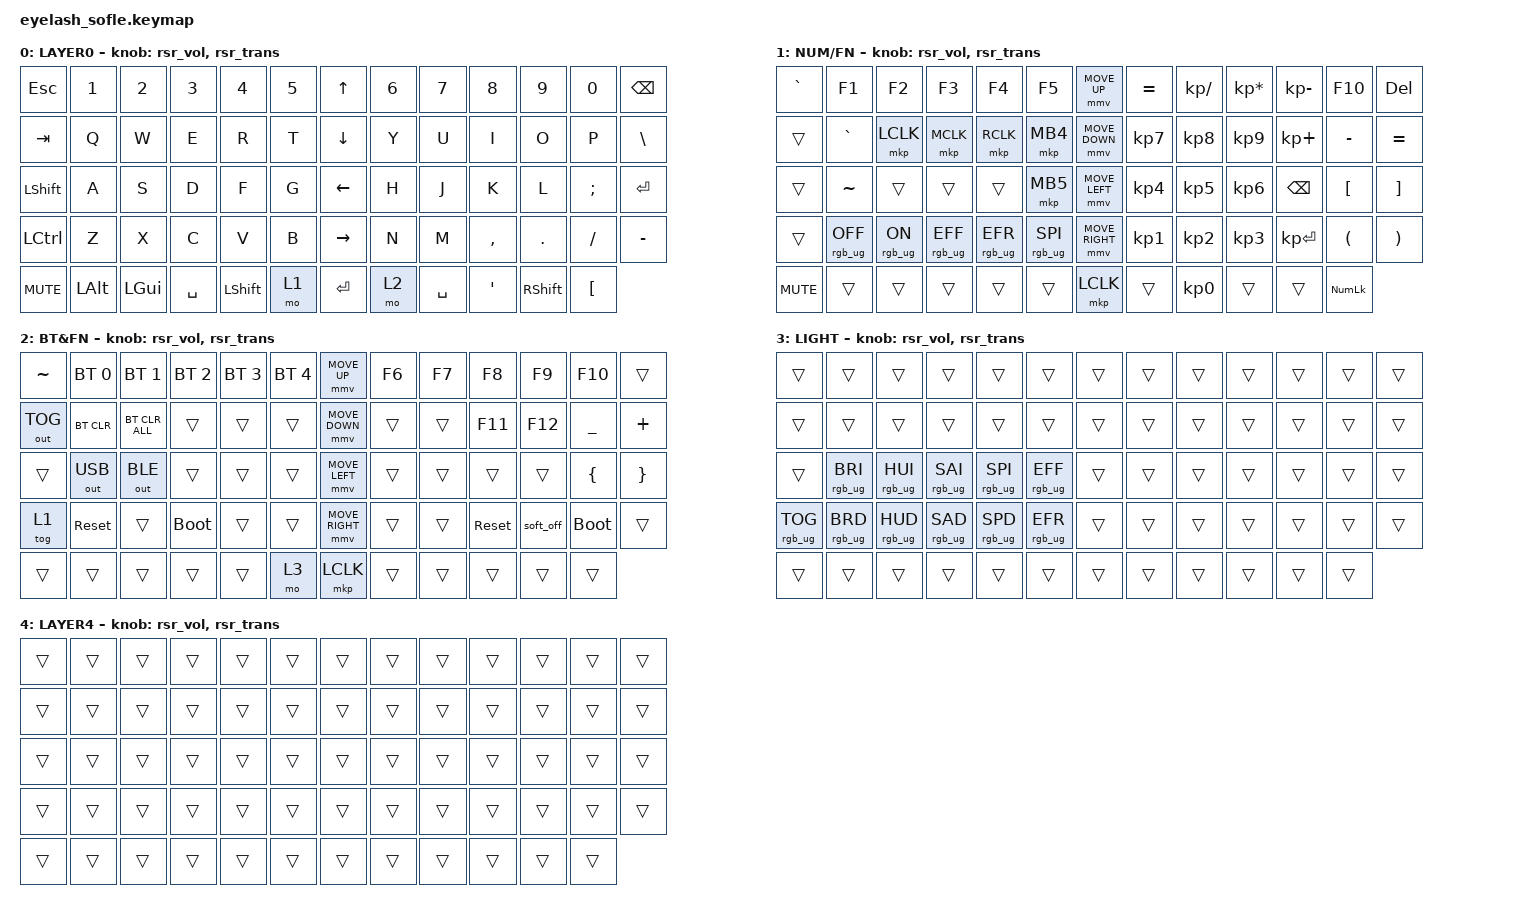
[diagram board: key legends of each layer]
#define ZMK_POINTING_DEFAULT_MOVE_VAL 1200  // 600
#define ZMK_POINTING_DEFAULT_SCRL_VAL 25   // 10

#include <input/processors.dtsi>
#include <zephyr/dt-bindings/input/input-event-codes.h>
#include <behaviors/runtime-sensor-rotate.dtsi>
#include <behaviors.dtsi>
#include <dt-bindings/zmk/bt.h>
#include <dt-bindings/zmk/keys.h>
#include <dt-bindings/zmk/outputs.h>
#include <dt-bindings/zmk/pointing.h>
#include <dt-bindings/zmk/rgb.h>

&mmv_input_listener { input-processors = <&zip_xy_scaler 2 1>; };

&msc_input_listener { input-processors = <&zip_scroll_scaler 2 1>; };

&msc {
    acceleration-exponent = <1>;      // 0
    time-to-max-speed-ms = <100>;       // 300
    delay-ms = <0>;                   // 0
};

&mmv {
    time-to-max-speed-ms = <500>;
    acceleration-exponent = <1>;
    trigger-period-ms = <16>;
};

&soft_off { hold-time-ms = <2000>; };

/ {
    scroll_encoder: scroll_encoder {
        compatible = "zmk,behavior-sensor-rotate";
        #sensor-binding-cells = <0>;
        bindings = <&msc SCRL_DOWN>, <&msc SCRL_UP>;

        tap-ms = <100>;
    };

    behaviors {
        rsr_vol: rsr_vol {
            compatible = "zmk,behavior-runtime-sensor-rotate";
            #sensor-binding-cells = <0>;
            tap-ms = <5>;
            cw-binding = <&kp C_VOL_UP>;
            ccw-binding = <&kp C_VOL_DN>;
        };

        rsr_trans: rsr_trans {
            compatible = "zmk,behavior-runtime-sensor-rotate";
            #sensor-binding-cells = <0>;
            tap-ms = <0>;
        };
    };

    combos {
        compatible = "zmk,combos";

        softoff {
            bindings = <&soft_off>;
            key-positions = <14 28 40>;
        };
    };

    macros {
        SHIFT_MCLK: SHIFT_MCLK {
            compatible = "zmk,behavior-macro";
            #binding-cells = <0>;
            bindings =
                <&macro_press>,
                <&kp LEFT_SHIFT>,
                <&macro_press>,
                <&mkp MB3>,
                <&macro_pause_for_release>,
                <&macro_release>,
                <&kp LEFT_SHIFT &mkp MB3>;

            label = "SHIFT_MCLK";
        };
    };

    keymap {
        compatible = "zmk,keymap";

        layer0 {
            bindings = <
&kp ESC           &kp N1        &kp N2        &kp N3     &kp N4          &kp N5    &kp UP_ARROW     &kp N6  &kp N7     &kp N8     &kp N9           &kp N0            &kp BACKSPACE
&kp TAB           &kp Q         &kp W         &kp E      &kp R           &kp T     &kp DOWN_ARROW   &kp Y   &kp U      &kp I      &kp O            &kp P             &kp BSLH
&kp LEFT_SHIFT    &kp A         &kp S         &kp D      &kp F           &kp G     &kp LEFT_ARROW   &kp H   &kp J      &kp K      &kp L            &kp SEMI          &kp ENTER
&kp LEFT_CONTROL  &kp Z         &kp X         &kp C      &kp V           &kp B     &kp RIGHT_ARROW  &kp N   &kp M      &kp COMMA  &kp DOT          &kp FSLH          &kp MINUS
&kp C_MUTE        &kp LEFT_ALT  &kp LEFT_GUI  &kp SPACE  &kp LEFT_SHIFT  &mo 1     &kp ENTER        &mo 2   &kp SPACE  &kp APOS   &kp RIGHT_SHIFT  &kp LEFT_BRACKET
            >;

            sensor-bindings = <&rsr_vol &rsr_trans>;
            display-name = "LAYER0";
        };

        NUM_FN {
            bindings = <
&kp GRAVE   &kp F1           &kp F2          &kp F3           &kp F4           &kp F5             &mmv MOVE_UP     &kp EQUAL  &kp KP_DIVIDE  &kp KP_MULTIPLY  &kp KP_MINUS   &kp F10               &kp DEL
&trans      &kp GRAVE        &mkp LCLK       &mkp MCLK        &mkp RCLK        &mkp MB4           &mmv MOVE_DOWN   &kp KP_N7  &kp KP_N8      &kp KP_N9        &kp KP_PLUS    &kp MINUS             &kp EQUAL
&trans      &kp TILDE        &trans          &trans           &trans           &mkp MB5           &mmv MOVE_LEFT   &kp KP_N4  &kp KP_N5      &kp KP_N6        &kp BACKSPACE  &kp LEFT_BRACKET      &kp RIGHT_BRACKET
&trans      &rgb_ug RGB_OFF  &rgb_ug RGB_ON  &rgb_ug RGB_EFF  &rgb_ug RGB_EFR  &rgb_ug RGB_SPI    &mmv MOVE_RIGHT  &kp KP_N1  &kp KP_N2      &kp KP_N3        &kp KP_ENTER   &kp LEFT_PARENTHESIS  &kp RIGHT_PARENTHESIS
&kp C_MUTE  &trans           &trans          &trans           &trans           &trans             &mkp LCLK        &trans     &kp KP_N0      &trans           &trans         &kp KP_NUMLOCK
            >;

            sensor-bindings = <&rsr_vol &rsr_trans>;
            display-name = "NUM/FN";
        };

        layer_2 {
            bindings = <
&kp TILDE     &bt BT_SEL 0  &bt BT_SEL 1    &bt BT_SEL 2  &bt BT_SEL 3  &bt BT_SEL 4    &mmv MOVE_UP     &kp F6  &kp F7  &kp F8      &kp F9     &kp F10      &trans
&out OUT_TOG  &bt BT_CLR    &bt BT_CLR_ALL  &trans        &trans        &trans          &mmv MOVE_DOWN   &trans  &trans  &kp F11     &kp F12    &kp UNDER    &kp PLUS
&trans        &out OUT_USB  &out OUT_BLE    &trans        &trans        &trans          &mmv MOVE_LEFT   &trans  &trans  &trans      &trans     &kp LBRC     &kp RBRC
&tog 1        &sys_reset    &trans          &bootloader   &trans        &trans          &mmv MOVE_RIGHT  &trans  &trans  &sys_reset  &soft_off  &bootloader  &trans
&trans        &trans        &trans          &trans        &trans        &mo 3           &mkp LCLK        &trans  &trans  &trans      &trans     &trans
            >;

            display-name = "BT&FN";
            sensor-bindings = <&rsr_vol &rsr_trans>;
        };

        layer_3 {
            bindings = <
&trans           &trans           &trans           &trans           &trans           &trans             &trans  &trans  &trans  &trans  &trans  &trans  &trans
&trans           &trans           &trans           &trans           &trans           &trans             &trans  &trans  &trans  &trans  &trans  &trans  &trans
&trans           &rgb_ug RGB_BRI  &rgb_ug RGB_HUI  &rgb_ug RGB_SAI  &rgb_ug RGB_SPI  &rgb_ug RGB_EFF    &trans  &trans  &trans  &trans  &trans  &trans  &trans
&rgb_ug RGB_TOG  &rgb_ug RGB_BRD  &rgb_ug RGB_HUD  &rgb_ug RGB_SAD  &rgb_ug RGB_SPD  &rgb_ug RGB_EFR    &trans  &trans  &trans  &trans  &trans  &trans  &trans
&trans           &trans           &trans           &trans           &trans           &trans             &trans  &trans  &trans  &trans  &trans  &trans
            >;

            display-name = "LIGHT";
            sensor-bindings = <&rsr_vol &rsr_trans>;
        };

        layer_4 {
            bindings = <
&trans  &trans  &trans  &trans  &trans  &trans    &trans  &trans  &trans  &trans  &trans  &trans  &trans
&trans  &trans  &trans  &trans  &trans  &trans    &trans  &trans  &trans  &trans  &trans  &trans  &trans
&trans  &trans  &trans  &trans  &trans  &trans    &trans  &trans  &trans  &trans  &trans  &trans  &trans
&trans  &trans  &trans  &trans  &trans  &trans    &trans  &trans  &trans  &trans  &trans  &trans  &trans
&trans  &trans  &trans  &trans  &trans  &trans    &trans  &trans  &trans  &trans  &trans  &trans
            >;

            display-name = "LAYER4";
            sensor-bindings = <&rsr_vol &rsr_trans>;
        };
    };
};
